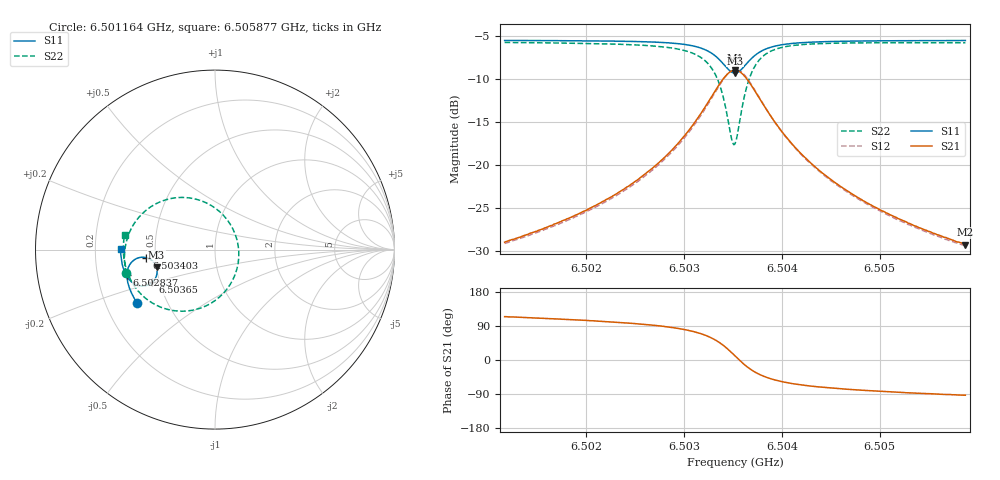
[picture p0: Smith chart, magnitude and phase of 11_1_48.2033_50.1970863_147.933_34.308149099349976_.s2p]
#  HZ  S  RI  R  50.00
! Rohde & Schwarz Vector Network Analyzer
! Rohde-Schwarz,ZNB20-2Port,1311601062101988,3.16
! Created: UTC 3/20/2024, 11:36:32 AM
! freq[Hz]  re:S11  im:S11  re:S21  im:S21  re:S12  im:S12  re:S22  im:S22
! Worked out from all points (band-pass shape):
!   401 points, 6.501164 GHz to 6.505877 GHz, reference 50 ohm
!   highest |S21| = -9.02 dB at 6.503521 GHz (marker M1); lowest = -29.2 dB at 6.505877 GHz (marker M2)
!   |S21| within 3 dB of the highest: 6.503285 GHz to 6.503756 GHz (471.5 kHz wide, 0.00725 % of centre)
!   lowest |S11| = -9.4 dB at 6.503521 GHz (marker M3), VSWR 2.03, Z = 25 - j5.64 ohm
!   |S11| at or under -10 dB: nowhere
!   |S22| runs from -17.6 to -5.8 dB; largest |S21 - S12| = 0.012
!   S11 on the Smith chart (normalised r, x): 6.501164 GHz: 0.34, -0.27; 6.502837 GHz: 0.33, -0.12; 6.503403 GHz: 0.45, -0.05; 6.50365 GHz: 0.46, -0.20; 6.505877 GHz: 0.31, +0.00
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6.501164e9  -0.4361 -0.295  -0.0147 0.0325  -0.013 0.0326  -0.4952 -0.1332
6.5019535e9  -0.4686 -0.2347  -0.0138 0.0514  -0.0113 0.0509  -0.5045 -0.0454
6.5024012e9  -0.4834 -0.1932  -0.0101 0.073  -0.00706 0.0715  -0.4984 0.0227
6.5027429e9  -0.4904 -0.1532  -0.000339 0.1035  0.00347 0.1007  -0.4762 0.097
6.5028372e9  -0.4907 -0.1397  0.00551 0.116  0.00939 0.1128  -0.4632 0.1236
6.5030375e9  -0.4848 -0.1051  0.0308 0.1527  0.0345 0.148  -0.4109 0.1947
6.5031789e9  -0.4683 -0.0744  0.0728 0.188  0.0753 0.1817  -0.3297 0.255
6.5033085e9  -0.4306 -0.0472  0.1535 0.2143  0.1539 0.2078  -0.183 0.2906
6.5034028e9  -0.3817 -0.0451  0.2489 0.196  0.2489 0.1915  -0.0178 0.2437
6.5034853e9  -0.337 -0.0764  0.3299 0.1174  0.3325 0.1132  0.1115 0.0881
6.5035206e9  -0.3258 -0.0997  0.3478 0.0663  0.3518 0.0608  0.1324 -0.00814
6.5035442e9  -0.3226 -0.1169  0.3512 0.03  0.3556 0.0231  0.1292 -0.0747
6.5035795e9  -0.325 -0.1421  0.3431 -0.0222  0.347 -0.0316  0.0995 -0.1677
6.5036502e9  -0.3484 -0.1812  0.2935 -0.1015  0.2936 -0.1136  -0.017 -0.2956
6.5037445e9  -0.3909 -0.2017  0.2116 -0.1459  0.2064 -0.1568  -0.1845 -0.3433
6.5038152e9  -0.4182 -0.2017  0.1618 -0.1511  0.1548 -0.1595  -0.2773 -0.3294
6.5038977e9  -0.442 -0.1945  0.1196 -0.1446  0.1122 -0.1504  -0.3511 -0.2964
6.5040627e9  -0.4721 -0.1733  0.0698 -0.1225  0.0632 -0.125  -0.4319 -0.2261
6.5043101e9  -0.4951 -0.142  0.0356 -0.0945  0.0307 -0.095  -0.4808 -0.1461
6.5046754e9  -0.5113 -0.1025  0.0154 -0.0687  0.0118 -0.0682  -0.5045 -0.0671
6.5050996e9  -0.5205 -0.0622  0.00548 -0.0514  0.00303 -0.0508  -0.5108 -0.00334
6.5058773e9  -0.5261 0.00469  -0.00181 -0.0346  -0.00331 -0.0337  -0.5039 0.0829
